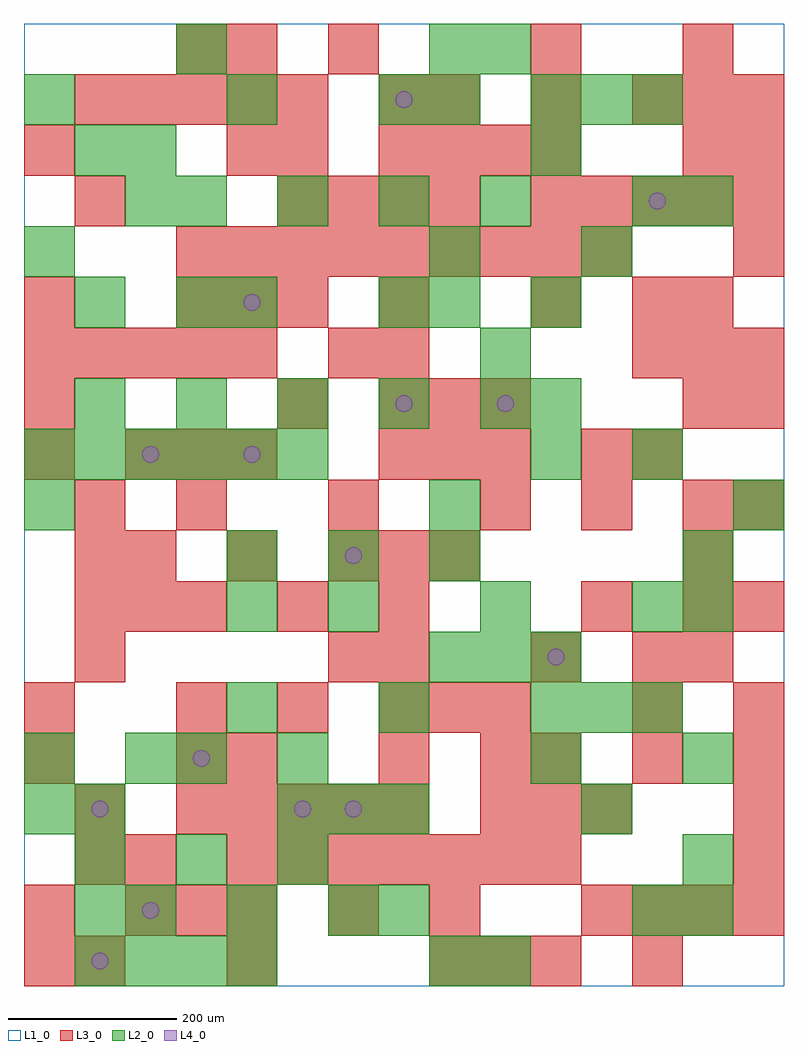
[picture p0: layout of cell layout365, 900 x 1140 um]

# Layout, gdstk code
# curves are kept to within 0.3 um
import gdstk
lib = gdstk.Library(unit=1e-6, precision=1e-09)
def R(c, l, rs):  # rectangles x0, y0, x1, y1
    for r in rs: c.add(gdstk.rectangle(r[:2], r[2:], *l))
def A(c, l, x, y, w, h, nx, ny, dx, dy):  # array of equal rectangles
    R(c, l, [(x+i*dx, y+j*dy, x+i*dx+w, y+j*dy+h) for i in range(nx) for j in range(ny)])
def P(c, l, *ps):  # polygons
    for p in ps: c.add(gdstk.Polygon(p, *l))
L1_0 = (1, 0)
L2_0 = (2, 0)
L3_0 = (3, 0)
L4_0 = (4, 0)

layout365 = lib.new_cell('layout365')
R(layout365, L1_0, [(0,0,900,1140)])
A(layout365, L2_0, 60, 0, 60, 60, 4, 1, 60, 0)
A(layout365, L2_0, 120, 60, 60, 60, 3, 1, 120, 0)
A(layout365, L2_0, 60, 120, 60, 60, 3, 1, 120, 0)
A(layout365, L2_0, 300, 180, 60, 60, 3, 1, 60, 0)
A(layout365, L2_0, 0, 240, 60, 60, 1, 3, 0, 300)
A(layout365, L2_0, 240, 300, 60, 60, 3, 1, 180, 0)
A(layout365, L2_0, 720, 300, 60, 60, 1, 3, 0, 300)
A(layout365, L2_0, 480, 360, 60, 60, 3, 1, 60, 0)
A(layout365, L2_0, 360, 420, 60, 60, 3, 1, 180, 0)
A(layout365, L2_0, 240, 480, 60, 60, 3, 1, 120, 0)
A(layout365, L2_0, 0, 600, 60, 60, 6, 1, 60, 0)
A(layout365, L2_0, 60, 660, 60, 60, 5, 1, 120, 0)
A(layout365, L2_0, 180, 900, 60, 60, 4, 1, 120, 0)
A(layout365, L2_0, 600, 1020, 60, 60, 3, 1, 60, 0)
R(layout365, L2_0, [(480,0,540,60), (540,0,600,60), (60,60,120,120), (420,60,480,120), (720,60,780,120), (780,60,840,120), (780,120,840,180), (0,180,60,240), (60,180,120,240), (660,180,720,240), (120,240,180,300), (180,240,240,300), (300,240,360,300), (600,240,660,300), (780,240,840,300), (660,300,720,360), (240,420,300,480), (780,420,840,480), (780,480,840,540), (480,540,540,600), (840,540,900,600), (600,600,660,660), (600,660,660,720), (540,720,600,780), (60,780,120,840), (180,780,240,840), (240,780,300,840), (420,780,480,840), (480,780,540,840), (600,780,660,840), (480,840,540,900), (660,840,720,900), (120,900,180,960), (780,900,840,960), (60,960,120,1020), (120,960,180,1020), (600,960,660,1020), (0,1020,60,1080), (240,1020,300,1080), (420,1020,480,1080), (480,1020,540,1080), (180,1080,240,1140), (480,1080,540,1140), (540,1080,600,1140)])
A(layout365, L3_0, 480, 0, 60, 60, 3, 1, 60, 0)
A(layout365, L3_0, 120, 60, 60, 60, 3, 2, 60, 540)
A(layout365, L3_0, 660, 60, 60, 60, 4, 1, 60, 0)
A(layout365, L3_0, 240, 120, 60, 60, 7, 1, 60, 0)
A(layout365, L3_0, 180, 180, 60, 60, 5, 1, 60, 0)
A(layout365, L3_0, 540, 180, 60, 60, 3, 1, 60, 0)
A(layout365, L3_0, 840, 180, 60, 60, 1, 5, 0, 120)
A(layout365, L3_0, 600, 240, 60, 60, 3, 1, 120, 0)
A(layout365, L3_0, 180, 300, 60, 60, 3, 1, 120, 0)
A(layout365, L3_0, 360, 360, 60, 60, 1, 3, 0, 360)
A(layout365, L3_0, 420, 360, 60, 60, 1, 3, 0, 60)
A(layout365, L3_0, 780, 360, 60, 60, 1, 4, 0, 60)
A(layout365, L3_0, 60, 420, 60, 60, 3, 1, 60, 0)
A(layout365, L3_0, 120, 480, 60, 60, 3, 1, 120, 0)
A(layout365, L3_0, 180, 540, 60, 60, 3, 1, 180, 0)
A(layout365, L3_0, 420, 600, 60, 60, 3, 2, 60, 60)
A(layout365, L3_0, 0, 720, 60, 60, 5, 1, 60, 0)
A(layout365, L3_0, 720, 720, 60, 60, 3, 1, 60, 0)
A(layout365, L3_0, 180, 780, 60, 60, 3, 1, 60, 0)
A(layout365, L3_0, 180, 840, 60, 60, 9, 1, 60, 0)
A(layout365, L3_0, 300, 900, 60, 60, 4, 1, 60, 0)
A(layout365, L3_0, 600, 900, 60, 60, 5, 1, 60, 0)
A(layout365, L3_0, 420, 960, 60, 60, 4, 1, 60, 0)
A(layout365, L3_0, 780, 960, 60, 60, 1, 3, 0, 60)
A(layout365, L3_0, 60, 1020, 60, 60, 5, 1, 60, 0)
A(layout365, L3_0, 480, 1020, 60, 60, 3, 1, 120, 0)
R(layout365, L3_0, [(0,0,60,60), (60,0,120,60), (240,0,300,60), (720,0,780,60), (0,60,60,120), (360,60,420,120), (480,60,540,120), (60,120,120,180), (120,120,180,180), (840,120,900,180), (60,180,120,240), (0,240,60,300), (180,240,240,300), (240,240,300,300), (420,240,480,300), (540,240,600,300), (0,300,60,360), (480,300,540,360), (540,300,600,360), (720,300,780,360), (60,360,120,420), (600,360,660,420), (720,360,780,420), (300,420,360,480), (660,420,720,480), (60,480,120,540), (480,480,540,540), (60,540,120,600), (660,540,720,600), (0,600,60,660), (660,600,720,660), (720,600,780,660), (0,660,60,720), (300,660,360,720), (780,660,840,720), (420,720,480,780), (0,780,60,840), (420,780,480,840), (600,780,660,840), (720,780,780,840), (780,780,840,840), (840,840,900,900), (60,900,120,960), (0,960,60,1020), (240,960,300,1020), (300,960,360,1020), (840,960,900,1020), (420,1020,480,1080), (840,1020,900,1080), (180,1080,240,1140), (240,1080,300,1140), (600,1080,660,1140)])
P(layout365, L4_0, [(100,30),(99.239,33.827),(97.071,37.071),(93.827,39.239),(90,40),(86.173,39.239),(82.929,37.071),(80.761,33.827),(80,30),(80.761,26.173),(82.929,22.929),(86.173,20.761),(90,20),(93.827,20.761),(97.071,22.929),(99.239,26.173)],
  [(100,210),(99.239,213.827),(97.071,217.071),(93.827,219.239),(90,220),(86.173,219.239),(82.929,217.071),(80.761,213.827),(80,210),(80.761,206.173),(82.929,202.929),(86.173,200.761),(90,200),(93.827,200.761),(97.071,202.929),(99.239,206.173)],
  [(160,90),(159.239,93.827),(157.071,97.071),(153.827,99.239),(150,100),(146.173,99.239),(142.929,97.071),(140.761,93.827),(140,90),(140.761,86.173),(142.929,82.929),(146.173,80.761),(150,80),(153.827,80.761),(157.071,82.929),(159.239,86.173)],
  [(160,630),(159.239,633.827),(157.071,637.071),(153.827,639.239),(150,640),(146.173,639.239),(142.929,637.071),(140.761,633.827),(140,630),(140.761,626.173),(142.929,622.929),(146.173,620.761),(150,620),(153.827,620.761),(157.071,622.929),(159.239,626.173)],
  [(220,270),(219.239,273.827),(217.071,277.071),(213.827,279.239),(210,280),(206.173,279.239),(202.929,277.071),(200.761,273.827),(200,270),(200.761,266.173),(202.929,262.929),(206.173,260.761),(210,260),(213.827,260.761),(217.071,262.929),(219.239,266.173)],
  [(280,630),(279.239,633.827),(277.071,637.071),(273.827,639.239),(270,640),(266.173,639.239),(262.929,637.071),(260.761,633.827),(260,630),(260.761,626.173),(262.929,622.929),(266.173,620.761),(270,620),(273.827,620.761),(277.071,622.929),(279.239,626.173)],
  [(280,810),(279.239,813.827),(277.071,817.071),(273.827,819.239),(270,820),(266.173,819.239),(262.929,817.071),(260.761,813.827),(260,810),(260.761,806.173),(262.929,802.929),(266.173,800.761),(270,800),(273.827,800.761),(277.071,802.929),(279.239,806.173)],
  [(340,210),(339.239,213.827),(337.071,217.071),(333.827,219.239),(330,220),(326.173,219.239),(322.929,217.071),(320.761,213.827),(320,210),(320.761,206.173),(322.929,202.929),(326.173,200.761),(330,200),(333.827,200.761),(337.071,202.929),(339.239,206.173)],
  [(400,210),(399.239,213.827),(397.071,217.071),(393.827,219.239),(390,220),(386.173,219.239),(382.929,217.071),(380.761,213.827),(380,210),(380.761,206.173),(382.929,202.929),(386.173,200.761),(390,200),(393.827,200.761),(397.071,202.929),(399.239,206.173)],
  [(400,510),(399.239,513.827),(397.071,517.071),(393.827,519.239),(390,520),(386.173,519.239),(382.929,517.071),(380.761,513.827),(380,510),(380.761,506.173),(382.929,502.929),(386.173,500.761),(390,500),(393.827,500.761),(397.071,502.929),(399.239,506.173)],
  [(460,690),(459.239,693.827),(457.071,697.071),(453.827,699.239),(450,700),(446.173,699.239),(442.929,697.071),(440.761,693.827),(440,690),(440.761,686.173),(442.929,682.929),(446.173,680.761),(450,680),(453.827,680.761),(457.071,682.929),(459.239,686.173)],
  [(460,1050),(459.239,1053.827),(457.071,1057.071),(453.827,1059.239),(450,1060),(446.173,1059.239),(442.929,1057.071),(440.761,1053.827),(440,1050),(440.761,1046.173),(442.929,1042.929),(446.173,1040.761),(450,1040),(453.827,1040.761),(457.071,1042.929),(459.239,1046.173)],
  [(580,690),(579.239,693.827),(577.071,697.071),(573.827,699.239),(570,700),(566.173,699.239),(562.929,697.071),(560.761,693.827),(560,690),(560.761,686.173),(562.929,682.929),(566.173,680.761),(570,680),(573.827,680.761),(577.071,682.929),(579.239,686.173)],
  [(640,390),(639.239,393.827),(637.071,397.071),(633.827,399.239),(630,400),(626.173,399.239),(622.929,397.071),(620.761,393.827),(620,390),(620.761,386.173),(622.929,382.929),(626.173,380.761),(630,380),(633.827,380.761),(637.071,382.929),(639.239,386.173)],
  [(760,930),(759.239,933.827),(757.071,937.071),(753.827,939.239),(750,940),(746.173,939.239),(742.929,937.071),(740.761,933.827),(740,930),(740.761,926.173),(742.929,922.929),(746.173,920.761),(750,920),(753.827,920.761),(757.071,922.929),(759.239,926.173)])

lib.write_gds('layout365.gds')
